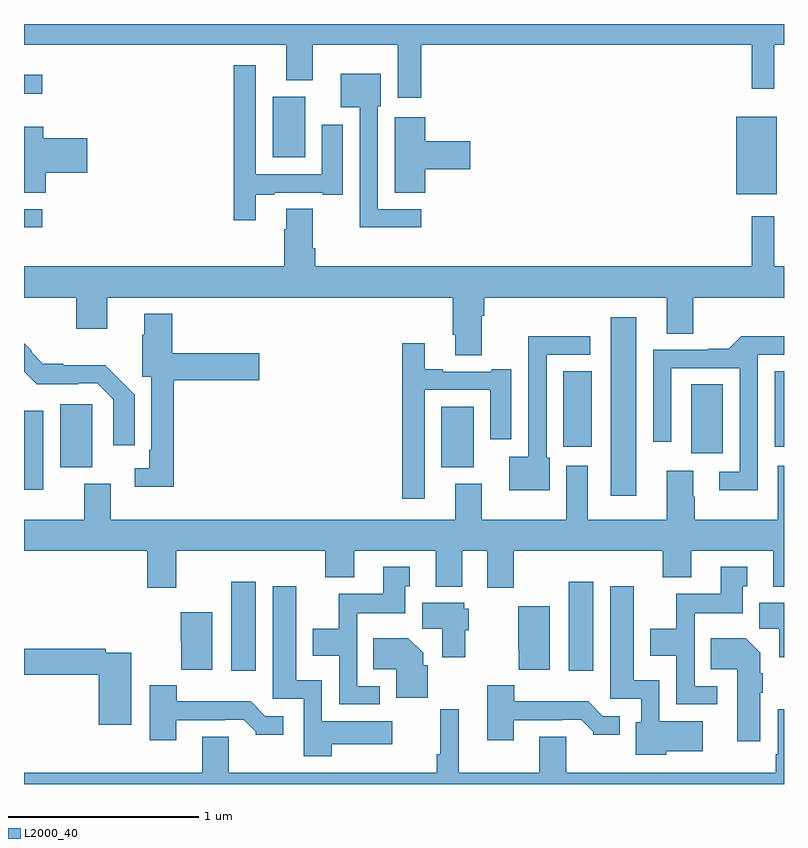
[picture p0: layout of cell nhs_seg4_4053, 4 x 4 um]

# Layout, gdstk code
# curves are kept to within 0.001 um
import gdstk
lib = gdstk.Library(unit=1e-6, precision=1e-09)
def R(c, l, rs):  # rectangles x0, y0, x1, y1
    for r in rs: c.add(gdstk.rectangle(r[:2], r[2:], *l))
def P(c, l, *ps):  # polygons
    for p in ps: c.add(gdstk.Polygon(p, *l))
L2000_40 = (2000, 40)

nhs_seg4_4053 = lib.new_cell('nhs_seg4_4053')
R(nhs_seg4_4053, L2000_40, [(326.09,821.496,326.221,821.965), (327.866,821.496,327.997,821.965), (328.088,822.417,328.222,823.357), (325,822.45,325.102,822.865), (325.19,822.566,325.36,822.9), (327.197,822.566,327.367,822.886), (328.511,822.642,328.678,823.004), (327.839,822.675,327.988,823.073), (328.952,822.675,329,823.073), (325,823.83,325.096,823.926), (328.748,824.003,328.963,824.413), (326.309,824.198,326.479,824.518), (325,824.534,325.096,824.632)])
P(nhs_seg4_4053, L2000_40, [(325,824.792),(326.381,824.792),(326.381,824.603),(326.521,824.603),(326.521,824.792),(326.966,824.792),(326.966,824.511),(327.092,824.511),(327.092,824.792),(328.831,824.792),(328.831,824.559),(328.949,824.559),(328.949,824.792),(329,824.792),(329,824.9),(325,824.9)],
  [(326.221,824.001),(326.317,824.001),(326.317,824.013),(326.573,824.013),(326.573,824.001),(326.677,824.001),(326.677,824.371),(326.567,824.371),(326.567,824.109),(326.22,824.109),(326.22,824.683),(326.104,824.683),(326.104,823.866),(326.221,823.866)],
  [(327.091,823.926),(326.862,823.926),(326.862,824.466),(326.878,824.466),(326.878,824.638),(326.666,824.638),(326.666,824.462),(326.766,824.462),(326.766,823.829),(327.091,823.829)],
  [(327.113,824.135),(327.349,824.135),(327.349,824.282),(327.113,824.282),(327.113,824.41),(326.951,824.41),(326.951,824.011),(327.113,824.011)],
  [(325.115,824.117),(325.333,824.117),(325.333,824.3),(325.102,824.3),(325.102,824.359),(325,824.359),(325,824.011),(325.115,824.011)],
  [(327.409,823.364),(327.422,823.364),(327.422,823.46),(328.382,823.46),(328.382,823.27),(328.522,823.27),(328.522,823.46),(329,823.46),(329,823.624),(328.948,823.624),(328.948,823.888),(328.831,823.888),(328.831,823.624),(326.534,823.624),(326.534,823.72),(326.521,823.72),(326.521,823.928),(326.381,823.928),(326.381,823.82),(326.369,823.82),(326.369,823.624),(325,823.624),(325,823.46),(325.274,823.46),(325.274,823.296),(325.438,823.296),(325.438,823.46),(327.257,823.46),(327.257,823.264),(327.269,823.264),(327.269,823.156),(327.409,823.156)],
  [(325.787,823.025),(326.239,823.025),(326.239,823.167),(325.781,823.167),(325.781,823.375),(325.634,823.375),(325.634,823.265),(325.622,823.265),(325.622,823.044),(325.671,823.044),(325.671,822.658),(325.659,822.658),(325.659,822.561),(325.584,822.561),(325.584,822.464),(325.787,822.464)],
  [(327.766,822.618),(327.75,822.618),(327.75,823.158),(327.979,823.158),(327.979,823.256),(327.654,823.256),(327.654,822.622),(327.554,822.622),(327.554,822.446),(327.766,822.446)],
  [(328.863,823.158),(329,823.158),(329,823.256),(328.775,823.256),(328.709,823.19),(328.601,823.19),(328.601,823.185),(328.311,823.185),(328.311,822.702),(328.407,822.702),(328.407,823.089),(328.767,823.089),(328.767,822.543),(328.659,822.543),(328.659,822.446),(328.863,822.446)],
  [(325.582,822.948),(325.427,823.105),(325.207,823.105),(325.207,823.113),(325.099,823.113),(325.037,823.175),(325.041,823.179),(325,823.22),(325,823.07),(325.067,823.004),(325.286,823.004),(325.286,823.008),(325.386,823.008),(325.47,822.924),(325.47,822.684),(325.582,822.684)],
  [(327.108,822.975),(327.455,822.975),(327.455,822.714),(327.565,822.714),(327.565,823.084),(327.461,823.084),(327.461,823.071),(327.205,823.071),(327.205,823.084),(327.109,823.084),(327.109,823.219),(326.992,823.219),(326.992,822.402),(327.108,822.402)],
  [(325.649,821.934),(325.801,821.934),(325.801,822.128),(326.585,822.128),(326.585,821.987),(326.737,821.987),(326.737,822.128),(327.167,822.128),(327.167,821.939),(327.307,821.939),(327.307,822.128),(327.437,822.128),(327.437,821.934),(327.577,821.934),(327.577,822.128),(328.361,822.128),(328.361,821.987),(328.513,821.987),(328.513,822.128),(328.943,822.128),(328.943,821.939),(329,821.939),(329,822.574),(328.967,822.574),(328.967,822.292),(328.53,822.292),(328.53,822.413),(328.522,822.413),(328.522,822.55),(328.382,822.55),(328.382,822.292),(327.967,822.292),(327.967,822.574),(327.854,822.574),(327.854,822.292),(327.409,822.292),(327.409,822.481),(327.269,822.481),(327.269,822.292),(325.456,822.292),(325.456,822.481),(325.316,822.481),(325.316,822.292),(325,822.292),(325,822.128),(325.649,822.128)],
  [(326.872,821.415),(326.754,821.415),(326.754,821.798),(327.007,821.798),(327.007,821.94),(327.031,821.94),(327.031,822.043),(326.891,822.043),(326.891,821.902),(326.656,821.902),(326.656,821.716),(326.519,821.716),(326.519,821.576),(326.658,821.576),(326.658,821.319),(326.872,821.319)],
  [(328.648,821.415),(328.53,821.415),(328.53,821.798),(328.783,821.798),(328.783,821.94),(328.807,821.94),(328.807,822.043),(328.667,822.043),(328.667,821.902),(328.432,821.902),(328.432,821.716),(328.295,821.716),(328.295,821.576),(328.434,821.576),(328.434,821.319),(328.648,821.319)],
  [(326.621,821.108),(326.938,821.108),(326.938,821.23),(326.568,821.23),(326.568,821.446),(326.434,821.446),(326.434,821.941),(326.309,821.941),(326.309,821.349),(326.472,821.349),(326.472,821.046),(326.621,821.046)],
  [(328.38,821.072),(328.573,821.072),(328.573,821.23),(328.344,821.23),(328.344,821.446),(328.21,821.446),(328.21,821.941),(328.085,821.941),(328.085,821.349),(328.248,821.349),(328.248,821.226),(328.22,821.226),(328.22,821.054),(328.38,821.054)],
  [(327.322,821.709),(327.34,821.709),(327.34,821.823),(327.318,821.823),(327.318,821.854),(327.095,821.854),(327.095,821.716),(327.2,821.716),(327.2,821.568),(327.322,821.568)],
  [(329,821.854),(328.871,821.854),(328.871,821.716),(328.976,821.716),(328.976,821.568),(329,821.568)],
  [(327.766,821.836),(327.602,821.836),(327.602,821.608),(327.604,821.608),(327.604,821.501),(327.766,821.501)],
  [(325.99,821.803),(325.826,821.803),(325.826,821.649),(325.828,821.649),(325.828,821.501),(325.99,821.501)],
  [(327.126,821.526),(327.1,821.526),(327.1,821.59),(327.022,821.668),(326.839,821.668),(326.839,821.504),(326.96,821.504),(326.96,821.354),(327.126,821.354)],
  [(328.876,821.38),(328.889,821.38),(328.889,821.483),(328.876,821.483),(328.876,821.59),(328.798,821.668),(328.615,821.668),(328.615,821.504),(328.754,821.504),(328.754,821.124),(328.876,821.124)],
  [(325.564,821.592),(325.43,821.592),(325.43,821.612),(325,821.612),(325,821.476),(325.394,821.476),(325.394,821.211),(325.564,821.211)],
  [(325.801,821.235),(326.057,821.235),(326.057,821.238),(326.156,821.238),(326.22,821.174),(326.22,821.159),(326.365,821.159),(326.365,821.256),(326.271,821.256),(326.193,821.335),(325.804,821.335),(325.804,821.419),(325.661,821.419),(325.661,821.13),(325.801,821.13)],
  [(327.577,821.235),(327.833,821.235),(327.833,821.238),(327.932,821.238),(327.996,821.174),(327.996,821.159),(328.135,821.159),(328.135,821.256),(328.047,821.256),(327.969,821.335),(327.58,821.335),(327.58,821.419),(327.437,821.419),(327.437,821.13),(327.577,821.13)],
  [(329,821.293),(328.968,821.293),(328.968,821.056),(328.956,821.056),(328.956,820.96),(327.853,820.96),(327.853,821.15),(327.713,821.15),(327.713,820.96),(327.289,820.96),(327.289,821.293),(327.19,821.293),(327.19,821.056),(327.172,821.056),(327.172,820.96),(326.077,820.96),(326.077,821.15),(325.937,821.15),(325.937,820.96),(325,820.96),(325,820.9),(329,820.9)])

lib.write_gds('nhs_seg4_4053.gds')
